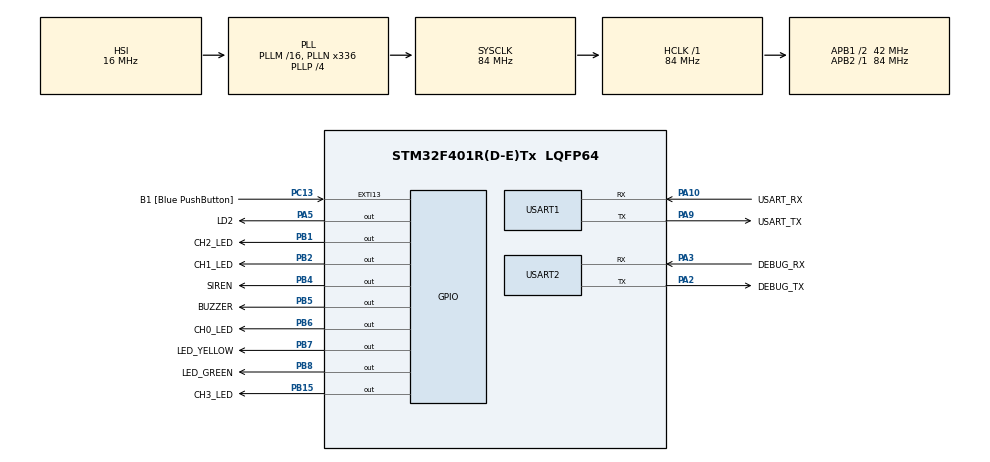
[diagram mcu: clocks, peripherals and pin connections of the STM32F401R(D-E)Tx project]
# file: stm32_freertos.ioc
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FREERTOS.Tasks01=defaultTask,24,128,StartDefaultTask,Default,NULL,Dynamic,NULL,NULL
Mcu.Family=STM32F4
Mcu.Name=STM32F401R(D-E)Tx
Mcu.Package=LQFP64
NVIC.PriorityGroup=NVIC_PRIORITYGROUP_4
NVIC.TIM1_UP_TIM10_IRQn=true\:15\:0\:false\:false\:true\:false\:false\:true\:true
NVIC.TimeBase=TIM1_UP_TIM10_IRQn
NVIC.TimeBaseIP=TIM1
NVIC.USART1_IRQn=true\:5\:0\:false\:false\:true\:false\:false\:false\:true
PA10.GPIO_Label=USART_RX
PA10.Mode=Asynchronous
PA10.Signal=USART1_RX
PA13.GPIO_Label=TMS
PA13.Mode=Trace_Asynchronous_SW
PA13.Signal=SYS_JTMS-SWDIO
PA14.GPIO_Label=TCK
PA14.Mode=Trace_Asynchronous_SW
PA14.Signal=SYS_JTCK-SWCLK
PA2.GPIO_Label=DEBUG_TX
PA2.Mode=Asynchronous
PA2.Signal=USART2_TX
PA3.GPIO_Label=DEBUG_RX
PA3.Mode=Asynchronous
PA3.Signal=USART2_RX
PA5.GPIO_Label=LD2
PA5.Signal=GPIO_Output
PA9.GPIO_Label=USART_TX
PA9.Mode=Asynchronous
PA9.Signal=USART1_TX
PB1.GPIO_Label=CH2_LED
PB1.Signal=GPIO_Output
PB15.GPIO_Label=CH3_LED
PB15.Signal=GPIO_Output
PB2.GPIO_Label=CH1_LED
PB2.Signal=GPIO_Output
PB3.GPIO_Label=SWO
PB3.Mode=Trace_Asynchronous_SW
PB3.Signal=SYS_JTDO-SWO
PB4.GPIO_Label=SIREN
PB4.Signal=GPIO_Output
PB5.GPIO_Label=BUZZER
PB5.Signal=GPIO_Output
PB6.GPIO_Label=CH0_LED
PB6.Signal=GPIO_Output
PB7.GPIO_Label=LED_YELLOW
PB7.Signal=GPIO_Output
PB8.GPIO_Label=LED_GREEN
PB8.Signal=GPIO_Output
PC13-ANTI_TAMP.GPIO_Label=B1 [Blue PushButton]
PC13-ANTI_TAMP.GPIO_ModeDefaultEXTI=GPIO_MODE_IT_FALLING
PC13-ANTI_TAMP.GPIO_PuPd=GPIO_NOPULL
PC13-ANTI_TAMP.Signal=GPXTI13
PC14-OSC32_IN.Mode=LSE-External-Oscillator
PC14-OSC32_IN.Signal=RCC_OSC32_IN
PC15-OSC32_OUT.Mode=LSE-External-Oscillator
PC15-OSC32_OUT.Signal=RCC_OSC32_OUT
PH0\ -\ OSC_IN.Mode=HSE-External-Clock-Source
PH0\ -\ OSC_IN.Signal=RCC_OSC_IN
PH1\ -\ OSC_OUT.Mode=HSE-External-Clock-Source
PH1\ -\ OSC_OUT.Signal=RCC_OSC_OUT
ProjectManager.HeapSize=0x200
ProjectManager.StackSize=0x400
ProjectManager.TargetToolchain=STM32CubeIDE
RCC.48MHZClocksFreq_Value=48000000
RCC.AHBFreq_Value=84000000
RCC.APB1CLKDivider=RCC_HCLK_DIV2
RCC.APB1Freq_Value=42000000
RCC.APB1TimFreq_Value=84000000
RCC.APB2Freq_Value=84000000
RCC.APB2TimFreq_Value=84000000
RCC.CortexFreq_Value=84000000
RCC.HCLKFreq_Value=84000000
RCC.HSE_VALUE=8000000
RCC.HSI_VALUE=16000000
RCC.PLLN=336
RCC.PLLP=RCC_PLLP_DIV4
RCC.PLLQ=7
RCC.SYSCLKFreq_VALUE=84000000
RCC.SYSCLKSource=RCC_SYSCLKSOURCE_PLLCLK
RCC.VCOOutputFreq_Value=336000000
USART1.VirtualMode=VM_ASYNC
USART2.VirtualMode=VM_ASYNC
VP_FREERTOS_VS_CMSIS_V2.Mode=CMSIS_V2
VP_SYS_VS_tim1.Mode=TIM1
board=NUCLEO-F401RE

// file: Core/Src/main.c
/* USER CODE BEGIN Header */
/**
  ******************************************************************************
  * @file           : main.c
  * @brief          : Main program body
  ******************************************************************************
  * @attention
  *
  * Copyright (c) 2026 STMicroelectronics.
  * All rights reserved.
  *
  * This software is licensed under terms that can be found in the LICENSE file
  * in the root directory of this software component.
  * If no LICENSE file comes with this software, it is provided AS-IS.
  *
  ******************************************************************************
  */
/* USER CODE END Header */
#include "main.h"
#include "cmsis_os.h"

/* USER CODE BEGIN Includes */
#include <string.h>
#include <stdio.h>
#include "app_tasks.h"
/* USER CODE END Includes */

UART_HandleTypeDef huart1;
UART_HandleTypeDef huart2;

/* Definitions for defaultTask */
osThreadId_t defaultTaskHandle;
const osThreadAttr_t defaultTask_attributes = {
  .name = "defaultTask",
  .stack_size = 128 * 4,
  .priority = (osPriority_t) osPriorityNormal,
};
/* USER CODE BEGIN PV */
uint8_t uartRxByte;

/* printf()가 여러 태스크에서 동시에 호출되는 걸 직렬화하는 뮤텍스.
 * configUSE_NEWLIB_REENTRANT가 꺼져 있고 HAL_UART_Transmit(huart2)에도 뮤텍스 보호가
 * 없어서, 이게 없으면 두 태스크가 동시에 printf를 부를 때 huart2 레지스터 접근이
 * 인터리빙되어 (최악의 경우) 우선순위 높은 태스크가 __io_putchar 안에서 영원히
 * 멈추고 그 아래 우선순위 태스크가 전부 굶는 전체 행(hang)으로 이어질 수 있다. */
osMutexId_t printfMutexHandle;
/* USER CODE END PV */

void SystemClock_Config(void);
static void MX_GPIO_Init(void);
static void MX_USART1_UART_Init(void);
static void MX_USART2_UART_Init(void);
void StartDefaultTask(void *argument);

int main(void)
{

  /* MCU Configuration--------------------------------------------------------*/

  /* Reset of all peripherals, Initializes the Flash interface and the Systick. */
  HAL_Init();

  /* Configure the system clock */
  SystemClock_Config();

  /* Initialize all configured peripherals */
  MX_GPIO_Init();
  MX_USART1_UART_Init();
  MX_USART2_UART_Init();
  /* USER CODE BEGIN 2 */
  /* USART1 수신 무장은 여기서 하지 않는다 -- rawRxByteQueue 가 App_TasksInit() 에서야
   * 만들어지므로, 여기서 무장하면 그 사이에 도착한 바이트가 아직 NULL 인 큐 핸들로
   * osMessageQueuePut() 을 하게 된다. 실제 무장은 rx_task 진입부(App_UartRxArm())에서. */
  printf("Boot OK - USART1(PA9/PA10)=Pi link, USART2(PA2/PA3)=debug console\r\n");
  /* USER CODE END 2 */

  /* Init scheduler */
  osKernelInitialize();

  /* USER CODE BEGIN RTOS_MUTEX */
  printfMutexHandle = osMutexNew(NULL);  /* __io_putchar() 직렬화용, 아래 참고 */
  /* USER CODE END RTOS_MUTEX */

  /* Create the thread(s) */
  /* creation of defaultTask */
  defaultTaskHandle = osThreadNew(StartDefaultTask, NULL, &defaultTask_attributes);

  /* USER CODE BEGIN RTOS_THREADS */
  App_TasksInit();  /* rx_task / control_task / tx_task / heartbeat_task / schedule_task 생성 */
  /* USER CODE END RTOS_THREADS */

  /* Start scheduler */
  osKernelStart();

  /* We should never get here as control is now taken by the scheduler */

  /* Infinite loop */
  while (1)
  {

  }
}

void SystemClock_Config(void)
{
  RCC_OscInitTypeDef RCC_OscInitStruct = {0};
  RCC_ClkInitTypeDef RCC_ClkInitStruct = {0};

  /** Configure the main internal regulator output voltage
  */
  __HAL_RCC_PWR_CLK_ENABLE();
  __HAL_PWR_VOLTAGESCALING_CONFIG(PWR_REGULATOR_VOLTAGE_SCALE2);

  /** Initializes the RCC Oscillators according to the specified parameters
  * in the RCC_OscInitTypeDef structure.
  */
  RCC_OscInitStruct.OscillatorType = RCC_OSCILLATORTYPE_HSI;
  RCC_OscInitStruct.HSIState = RCC_HSI_ON;
  RCC_OscInitStruct.HSICalibrationValue = RCC_HSICALIBRATION_DEFAULT;
  RCC_OscInitStruct.PLL.PLLState = RCC_PLL_ON;
  RCC_OscInitStruct.PLL.PLLSource = RCC_PLLSOURCE_HSI;
  RCC_OscInitStruct.PLL.PLLM = 16;
  RCC_OscInitStruct.PLL.PLLN = 336;
  RCC_OscInitStruct.PLL.PLLP = RCC_PLLP_DIV4;
  RCC_OscInitStruct.PLL.PLLQ = 7;
  if (HAL_RCC_OscConfig(&RCC_OscInitStruct) != HAL_OK)
  {
    Error_Handler();
  }

  /** Initializes the CPU, AHB and APB buses clocks
  */
  RCC_ClkInitStruct.ClockType = RCC_CLOCKTYPE_HCLK|RCC_CLOCKTYPE_SYSCLK
                              |RCC_CLOCKTYPE_PCLK1|RCC_CLOCKTYPE_PCLK2;
  RCC_ClkInitStruct.SYSCLKSource = RCC_SYSCLKSOURCE_PLLCLK;
  RCC_ClkInitStruct.AHBCLKDivider = RCC_SYSCLK_DIV1;
  RCC_ClkInitStruct.APB1CLKDivider = RCC_HCLK_DIV2;
  RCC_ClkInitStruct.APB2CLKDivider = RCC_HCLK_DIV1;

  if (HAL_RCC_ClockConfig(&RCC_ClkInitStruct, FLASH_LATENCY_2) != HAL_OK)
  {
    Error_Handler();
  }
}

static void MX_USART1_UART_Init(void)
{

  huart1.Instance = USART1;
  huart1.Init.BaudRate = 115200;
  huart1.Init.WordLength = UART_WORDLENGTH_8B;
  huart1.Init.StopBits = UART_STOPBITS_1;
  huart1.Init.Parity = UART_PARITY_NONE;
  huart1.Init.Mode = UART_MODE_TX_RX;
  huart1.Init.HwFlowCtl = UART_HWCONTROL_NONE;
  huart1.Init.OverSampling = UART_OVERSAMPLING_16;
  if (HAL_UART_Init(&huart1) != HAL_OK)
  {
    Error_Handler();
  }

}

static void MX_USART2_UART_Init(void)
{

  huart2.Instance = USART2;
  huart2.Init.BaudRate = 115200;
  huart2.Init.WordLength = UART_WORDLENGTH_8B;
  huart2.Init.StopBits = UART_STOPBITS_1;
  huart2.Init.Parity = UART_PARITY_NONE;
  huart2.Init.Mode = UART_MODE_TX_RX;
  huart2.Init.HwFlowCtl = UART_HWCONTROL_NONE;
  huart2.Init.OverSampling = UART_OVERSAMPLING_16;
  if (HAL_UART_Init(&huart2) != HAL_OK)
  {
    Error_Handler();
  }

}

static void MX_GPIO_Init(void)
{
  GPIO_InitTypeDef GPIO_InitStruct = {0};

  /* GPIO Ports Clock Enable */
  __HAL_RCC_GPIOC_CLK_ENABLE();
  __HAL_RCC_GPIOH_CLK_ENABLE();
  __HAL_RCC_GPIOA_CLK_ENABLE();
  __HAL_RCC_GPIOB_CLK_ENABLE();

  /*Configure GPIO pin Output Level */
  HAL_GPIO_WritePin(LD2_GPIO_Port, LD2_Pin, GPIO_PIN_RESET);

  /*Configure GPIO pin Output Level */
  HAL_GPIO_WritePin(GPIOB, CH2_LED_Pin|CH1_LED_Pin|CH3_LED_Pin|SIREN_Pin
                          |BUZZER_Pin|CH0_LED_Pin|LED_YELLOW_Pin|LED_GREEN_Pin, GPIO_PIN_RESET);

  /*Configure GPIO pin : B1_Pin */
  GPIO_InitStruct.Pin = B1_Pin;
  GPIO_InitStruct.Mode = GPIO_MODE_IT_FALLING;
  GPIO_InitStruct.Pull = GPIO_NOPULL;
  HAL_GPIO_Init(B1_GPIO_Port, &GPIO_InitStruct);

  /*Configure GPIO pin : LD2_Pin */
  GPIO_InitStruct.Pin = LD2_Pin;
  GPIO_InitStruct.Mode = GPIO_MODE_OUTPUT_PP;
  GPIO_InitStruct.Pull = GPIO_NOPULL;
  GPIO_InitStruct.Speed = GPIO_SPEED_FREQ_LOW;
  HAL_GPIO_Init(LD2_GPIO_Port, &GPIO_InitStruct);

  /*Configure GPIO pins : CH2_LED_Pin CH1_LED_Pin CH3_LED_Pin SIREN_Pin
                           BUZZER_Pin CH0_LED_Pin LED_YELLOW_Pin LED_GREEN_Pin */
  GPIO_InitStruct.Pin = CH2_LED_Pin|CH1_LED_Pin|CH3_LED_Pin|SIREN_Pin
                          |BUZZER_Pin|CH0_LED_Pin|LED_YELLOW_Pin|LED_GREEN_Pin;
  GPIO_InitStruct.Mode = GPIO_MODE_OUTPUT_PP;
  GPIO_InitStruct.Pull = GPIO_NOPULL;
  GPIO_InitStruct.Speed = GPIO_SPEED_FREQ_LOW;
  HAL_GPIO_Init(GPIOB, &GPIO_InitStruct);

  /* USER CODE BEGIN MX_GPIO_Init_2 */
  /* 액추에이터/LED 핀은 전부 .ioc 에 등록되어 위 생성 코드가 초기화한다.
   * (예전에는 여기에 손으로 HAL_GPIO_Init 을 한 벌 더 적어두었음) */
  /* USER CODE END MX_GPIO_Init_2 */
}

/* USER CODE BEGIN 4 */
/**
  * @brief  문자 1개를 USART2(디버그 콘솔, ST-Link VCP)로 내보낸다.
  * @note   아래 _write()를 재정의했기 때문에 printf() 는 더 이상 이 함수를 거치지 않는다.
  *         직접 호출하는 코드를 위해 남겨둔 것이며, 뮤텍스 보호가 없으므로
  *         태스크에서 쓰려면 _write() 경로(printf)를 사용할 것.
  */
int __io_putchar(int ch)
{
  HAL_UART_Transmit(&huart2, (uint8_t *)&ch, 1, HAL_MAX_DELAY);
  return ch;
}

/**
  * @brief  printf() 경로를 '한 줄 통째로' 전송하도록 재정의 (syscalls.c의 weak _write 대체).
  * @details 예전에는 __io_putchar()에 뮤텍스를 걸었는데, 이 함수는 문자 1개당 1번 불린다
  *          -- 30자 로그 한 줄이면 뮤텍스 acquire/release 가 60번이고, 그때마다 FreeRTOS
  *          크리티컬 섹션이 BASEPRI로 USART1 RX 인터럽트(우선순위 5 =
  *          configLIBRARY_MAX_SYSCALL_INTERRUPT_PRIORITY)를 마스킹한다.
  *          STM32F4 USART 에는 RX FIFO 가 없어 115200 기준 86.8us 만 밀려도 오버런이 나므로
  *          이게 그대로 RPi 링크 수신 불능으로 이어졌다.
  *          -> 뮤텍스를 줄 단위로 한 번만 잡고, HAL_UART_Transmit 도 버퍼 전체를 한 번에 보낸다.
  */
int _write(int file, char *ptr, int len)
{
  UNUSED(file);
  if (ptr == NULL || len <= 0)
  {
    return 0;
  }

  const int schedulerRunning = (osKernelGetState() == osKernelRunning);
  if (schedulerRunning && printfMutexHandle != NULL)
  {
    osMutexAcquire(printfMutexHandle, osWaitForever);
  }

  HAL_UART_Transmit(&huart2, (uint8_t *)ptr, (uint16_t)len, HAL_MAX_DELAY);

  if (schedulerRunning && printfMutexHandle != NULL)
  {
    osMutexRelease(printfMutexHandle);
  }
  return len;
}

/**
  * @brief  USART1(RPi 링크) 1바이트 수신 인터럽트 무장. rx_task 진입부에서 1회 호출된다.
  */
void App_UartRxArm(void)
{
  HAL_UART_Receive_IT(&huart1, &uartRxByte, 1);
}

/**
  * @brief  UART 에러 콜백 -- RPi 링크(USART1) 수신을 되살리는 핵심 복구 경로.
  * @details 오버런(ORE)/프레이밍/노이즈 에러가 나면 HAL_UART_IRQHandler 는 이를
  *          blocking error 로 보고 UART_EndRxTransfer() 로 RXNEIE/PEIE/EIE 를 전부 끈 뒤
  *          이 콜백을 부른다. HAL 기본 구현은 __weak 빈 함수라, 여기서 다시 무장하지 않으면
  *          HAL_UART_RxCpltCallback() 이 영영 호출되지 않아 리셋 전까지 완전히 귀가 먹는다.
  *          (실제로 rx_task/control_task 가 한 번도 안 도는 증상의 원인이었음)
  */
void HAL_UART_ErrorCallback(UART_HandleTypeDef *huart)
{
  if (huart->Instance == USART1)
  {
    /* F4 에서는 SR -> DR 순서로 읽으면 PE/FE/NE/ORE 가 한 번에 클리어된다 */
    __HAL_UART_CLEAR_OREFLAG(huart);
    huart->ErrorCode = HAL_UART_ERROR_NONE;

    /* 수신 재무장 -- 이 한 줄이 없으면 첫 오버런에서 링크가 영구히 죽는다 */
    HAL_UART_Receive_IT(&huart1, &uartRxByte, 1);
  }
}

/**
  * @brief  UART Rx Complete 콜백. 라즈베리파이에서 보낸 바이트를 rx_task로 전달한다.
  *         라인 조립/파싱은 rx_task에서 수행한다(ISR은 최대한 짧게 유지).
  */
void HAL_UART_RxCpltCallback(UART_HandleTypeDef *huart)
{
  if (huart->Instance == USART1)
  {
    App_UartRxByteFromISR(uartRxByte);
    HAL_UART_Receive_IT(&huart1, &uartRxByte, 1);
  }
}
/* USER CODE END 4 */

void StartDefaultTask(void *argument)
{
  /* USER CODE BEGIN 5 */
  /* Infinite loop */
  for(;;)
  {
    HAL_GPIO_TogglePin(LD2_GPIO_Port, LD2_Pin);   // 보드 상태 확인용 heartbeat LED
    osDelay(500);   // HAL_Delay 대신 osDelay 사용
  }
  /* USER CODE END 5 */
}

void HAL_TIM_PeriodElapsedCallback(TIM_HandleTypeDef *htim)
{
  if (htim->Instance == TIM1)
  {
    HAL_IncTick();
  }
}

void Error_Handler(void)
{
  __disable_irq();
  while (1)
  {
  }
}
